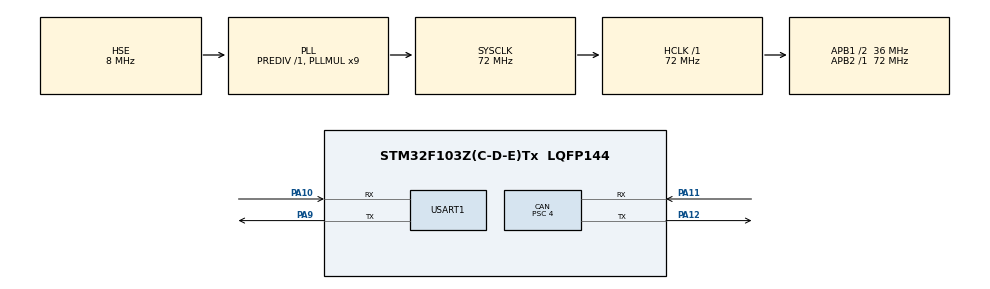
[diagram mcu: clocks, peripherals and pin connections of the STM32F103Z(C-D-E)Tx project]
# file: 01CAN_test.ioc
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CAN.BS1=CAN_BS1_9TQ
CAN.BS2=CAN_BS2_8TQ
CAN.CalculateBaudRate=500000
CAN.CalculateTimeBit=2000
CAN.CalculateTimeQuantum=111.11111111111111
CAN.Prescaler=4
Mcu.Family=STM32F1
Mcu.Name=STM32F103Z(C-D-E)Tx
Mcu.Package=LQFP144
NVIC.PriorityGroup=NVIC_PRIORITYGROUP_4
OSC_IN.Mode=HSE-External-Oscillator
OSC_IN.Signal=RCC_OSC_IN
OSC_OUT.Mode=HSE-External-Oscillator
OSC_OUT.Signal=RCC_OSC_OUT
PA10.Mode=Asynchronous
PA10.Signal=USART1_RX
PA11.Mode=CAN_Activate
PA11.Signal=CAN_RX
PA12.Mode=CAN_Activate
PA12.Signal=CAN_TX
PA13.Mode=Serial_Wire
PA13.Signal=SYS_JTMS-SWDIO
PA14.Mode=Serial_Wire
PA14.Signal=SYS_JTCK-SWCLK
PA9.Mode=Asynchronous
PA9.Signal=USART1_TX
ProjectManager.HeapSize=0x200
ProjectManager.StackSize=0x400
ProjectManager.TargetToolchain=MDK-ARM V5.32
RCC.AHBFreq_Value=72000000
RCC.APB1CLKDivider=RCC_HCLK_DIV2
RCC.APB1Freq_Value=36000000
RCC.APB1TimFreq_Value=72000000
RCC.APB2Freq_Value=72000000
RCC.APB2TimFreq_Value=72000000
RCC.HCLKFreq_Value=72000000
RCC.PLLMUL=RCC_PLL_MUL9
RCC.PLLSourceVirtual=RCC_PLLSOURCE_HSE
RCC.SYSCLKFreq_VALUE=72000000
RCC.SYSCLKSource=RCC_SYSCLKSOURCE_PLLCLK
RCC.USBFreq_Value=72000000
USART1.VirtualMode=VM_ASYNC
board=custom

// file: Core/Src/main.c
/* USER CODE BEGIN Header */
/**
  ******************************************************************************
  * @file           : main.c
  * @brief          : Main program body
  ******************************************************************************
  * @attention
  *
  * Copyright (c) 2026 STMicroelectronics.
  * All rights reserved.
  *
  * This software is licensed under terms that can be found in the LICENSE file
  * in the root directory of this software component.
  * If no LICENSE file comes with this software, it is provided AS-IS.
  *
  ******************************************************************************
  */
/* USER CODE END Header */
#include "main.h"
#include "can.h"
#include "usart.h"
#include "gpio.h"
#include "string.h"

/* USER CODE BEGIN PV */
uint8_t Tx_aData[] = {1,2,3,5,4,7,8,9};
uint8_t Rx_Data[8];
uint32_t Tx_Mail = CAN_TX_MAILBOX0;
/* USER CODE END PV */

void SystemClock_Config(void);

int main(void)
{

  /* MCU Configuration--------------------------------------------------------*/

  /* Reset of all peripherals, Initializes the Flash interface and the Systick. */
  HAL_Init();

  /* Configure the system clock */
  SystemClock_Config();

  /* Initialize all configured peripherals */
  MX_GPIO_Init();
  MX_CAN_Init();
  MX_USART1_UART_Init();
  /* USER CODE BEGIN 2 */
CAN_FilterTypeDef CAN_FilterConfig;
CAN_FilterConfig.FilterBank = 0;
CAN_FilterConfig.FilterMode = CAN_FILTERMODE_IDMASK;
CAN_FilterConfig.FilterScale = CAN_FILTERSCALE_16BIT ;
CAN_FilterConfig.FilterIdHigh = 0x0;
CAN_FilterConfig.FilterIdLow = 0x0;
CAN_FilterConfig.FilterMaskIdHigh = 0x0;
CAN_FilterConfig.FilterMaskIdLow = 0x0;
CAN_FilterConfig.FilterFIFOAssignment = CAN_FILTER_FIFO0;
CAN_FilterConfig.FilterActivation = CAN_FILTER_ENABLE;
CAN_FilterConfig.SlaveStartFilterBank = 14;

if (HAL_CAN_ConfigFilter(&hcan, &CAN_FilterConfig) != HAL_OK)
  {
    Error_Handler();
  }

HAL_CAN_Start(&hcan);
  /* USER CODE END 2 */

  /* Infinite loop */
  /* USER CODE BEGIN WHILE */
  while (1)
  {
#if 1
		CAN_RxHeaderTypeDef RxMessage;

		HAL_CAN_GetRxMessage(&hcan, CAN_FILTER_FIFO0,&RxMessage,Rx_Data);

	printf("recv id %u : \r\n ",RxMessage.IDE);
		printf("recv length 0x%x : \r\n ",RxMessage.DLC);
		printf("recv: ");
		for(int i=0;i<8;i++)
		printf(" %u ",Rx_Data[i]);
		printf(" \r\n ");
		memset(Rx_Data, 0, 4);
			printf("recv 0: ");
		for(int i=0;i<8;i++)
		printf(" %u ",Rx_Data[i]);
		printf(" \r\n ");
#else
		CAN_TxHeaderTypeDef TxMessage;

		TxMessage.StdId = 0x12;
		TxMessage.IDE = CAN_ID_STD;
		TxMessage.DLC = 8;
		TxMessage.RTR = CAN_RTR_DATA;

		HAL_CAN_AddTxMessage(&hcan, &TxMessage,Tx_aData, &Tx_Mail);
		printf(" fend ok\r\n ");
#endif
    /* USER CODE END WHILE */

  }
}

void SystemClock_Config(void)
{
  RCC_OscInitTypeDef RCC_OscInitStruct = {0};
  RCC_ClkInitTypeDef RCC_ClkInitStruct = {0};

  /** Initializes the RCC Oscillators according to the specified parameters
  * in the RCC_OscInitTypeDef structure.
  */
  RCC_OscInitStruct.OscillatorType = RCC_OSCILLATORTYPE_HSE;
  RCC_OscInitStruct.HSEState = RCC_HSE_ON;
  RCC_OscInitStruct.HSEPredivValue = RCC_HSE_PREDIV_DIV1;
  RCC_OscInitStruct.HSIState = RCC_HSI_ON;
  RCC_OscInitStruct.PLL.PLLState = RCC_PLL_ON;
  RCC_OscInitStruct.PLL.PLLSource = RCC_PLLSOURCE_HSE;
  RCC_OscInitStruct.PLL.PLLMUL = RCC_PLL_MUL9;
  if (HAL_RCC_OscConfig(&RCC_OscInitStruct) != HAL_OK)
  {
    Error_Handler();
  }

  /** Initializes the CPU, AHB and APB buses clocks
  */
  RCC_ClkInitStruct.ClockType = RCC_CLOCKTYPE_HCLK|RCC_CLOCKTYPE_SYSCLK
                              |RCC_CLOCKTYPE_PCLK1|RCC_CLOCKTYPE_PCLK2;
  RCC_ClkInitStruct.SYSCLKSource = RCC_SYSCLKSOURCE_PLLCLK;
  RCC_ClkInitStruct.AHBCLKDivider = RCC_SYSCLK_DIV1;
  RCC_ClkInitStruct.APB1CLKDivider = RCC_HCLK_DIV2;
  RCC_ClkInitStruct.APB2CLKDivider = RCC_HCLK_DIV1;

  if (HAL_RCC_ClockConfig(&RCC_ClkInitStruct, FLASH_LATENCY_2) != HAL_OK)
  {
    Error_Handler();
  }
}

void Error_Handler(void)
{
  __disable_irq();
  while (1)
  {
  }
}
